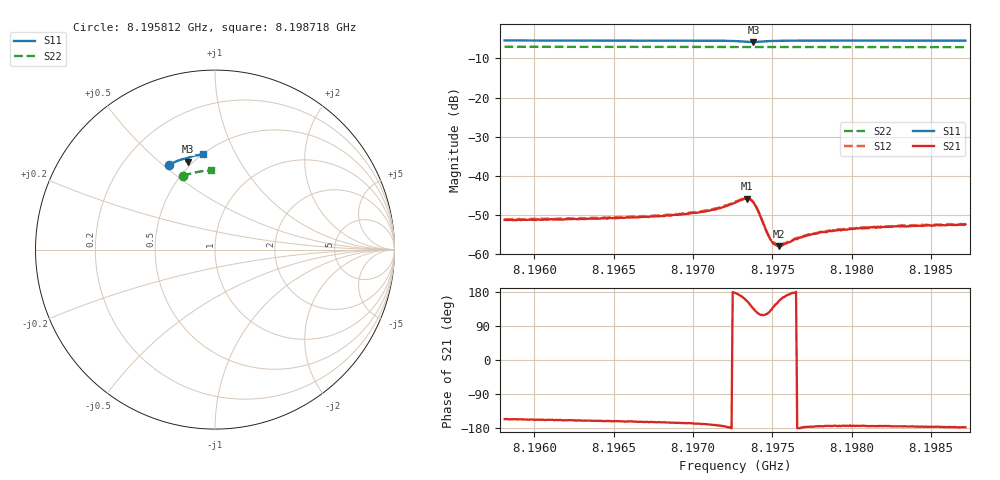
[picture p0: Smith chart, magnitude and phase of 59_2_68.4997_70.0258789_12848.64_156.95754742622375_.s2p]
#  HZ  S  RI  R  50.00
! Rohde & Schwarz Vector Network Analyzer
! Rohde-Schwarz,ZNB20-2Port,1311601062101988,3.16
! Created: UTC 3/20/2024, 4:51:10 PM
! freq[Hz]  re:S11  im:S11  re:S21  im:S21  re:S12  im:S12  re:S22  im:S22
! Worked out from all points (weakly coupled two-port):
!   401 points, 8.195812 GHz to 8.198718 GHz, reference 50 ohm
!   highest |S21| = -45.80 dB at 8.197337 GHz (marker M1); lowest = -58.0 dB at 8.197541 GHz (marker M2)
!   lowest |S11| = -5.8 dB at 8.197381 GHz (marker M3), VSWR 3.10, Z = 23.5 + j31.2 ohm
!   |S11| at or under -10 dB: nowhere
!   |S22| runs from -7.1 to -7.0 dB; largest |S21 - S12| = 0.00029
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8.1958116e9  -0.2587 0.4711  -0.00251 -0.0011  -0.00257 -0.00106  -0.1788 0.4088
8.1962983e9  -0.2273 0.4864  -0.00264 -0.000974  -0.00276 -0.000901  -0.1533 0.4181
8.1967851e9  -0.1941 0.4997  -0.00292 -0.000821  -0.00305 -0.000765  -0.1271 0.4259
8.1969377e9  -0.183 0.5034  -0.00315 -0.000762  -0.00325 -0.000646  -0.1188 0.428
8.1970975e9  -0.17 0.5066  -0.00351 -0.000616  -0.00363 -0.000518  -0.11 0.4301
8.1971847e9  -0.1617 0.5074  -0.00394 -0.000396  -0.00403 -0.000216  -0.1051 0.4311
8.1972646e9  -0.1525 0.5055  -0.00454 0.000224  -0.00461 0.00043  -0.1007 0.4319
8.1973372e9  -0.1463 0.4959  -0.0047 0.00204  -0.00469 0.00228  -0.0965 0.4324
8.197359e9  -0.1477 0.4918  -0.00419 0.0028  -0.00412 0.00299  -0.0955 0.4325
8.1973808e9  -0.152 0.4893  -0.00324 0.00321  -0.00314 0.0034  -0.0946 0.4327
8.1974099e9  -0.1581 0.491  -0.00196 0.003  -0.00184 0.00312  -0.0931 0.4331
8.1974608e9  -0.1607 0.4997  -0.00103 0.00171  -0.000962 0.00178  -0.0903 0.4338
8.1974825e9  -0.1596 0.503  -0.000976 0.00129  -0.000955 0.00135  -0.0893 0.4341
8.1975116e9  -0.1574 0.5063  -0.00106 0.000836  -0.0011 0.000883  -0.0876 0.4344
8.1975407e9  -0.1548 0.5087  -0.00115 0.000524  -0.00119 0.000594  -0.0859 0.4347
8.1975697e9  -0.1521 0.5105  -0.00128 0.000321  -0.0013 0.0004  -0.0842 0.435
8.1976569e9  -0.1446 0.5143  -0.00155 -1.88e-05  -0.00162 5.92e-05  -0.0793 0.4358
8.1977514e9  -0.1369 0.5172  -0.00179 -0.000123  -0.00184 -6.7e-05  -0.0742 0.4367
8.1978095e9  -0.1323 0.5186  -0.0019 -0.00018  -0.00193 -0.000105  -0.0708 0.4371
8.1979766e9  -0.1197 0.5217  -0.00206 -0.000212  -0.00212 -0.000113  -0.0615 0.4384
8.1982381e9  -0.1008 0.5256  -0.00224 -0.000231  -0.00227 -0.000121  -0.0468 0.4396
8.1987176e9  -0.0665 0.5307  -0.0024 -0.000109  -0.00243 -6.81e-06  -0.0197 0.4409
